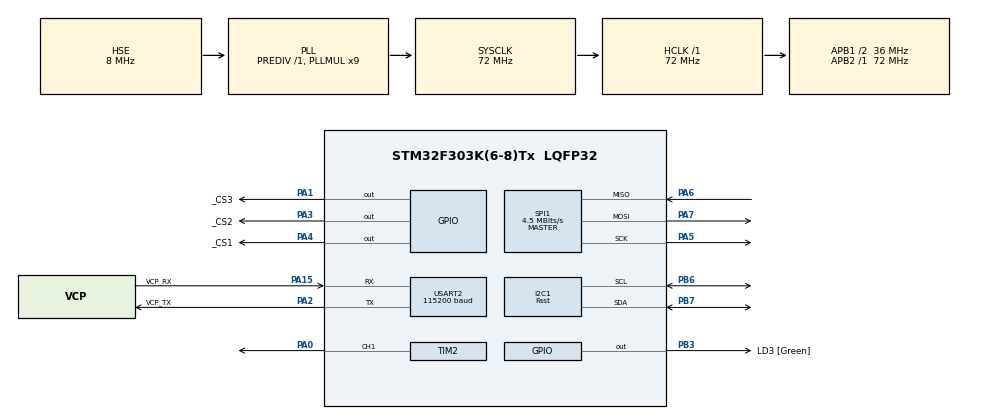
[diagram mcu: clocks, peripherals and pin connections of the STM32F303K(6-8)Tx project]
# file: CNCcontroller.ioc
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Dma.I2C1_RX.0.Direction=DMA_PERIPH_TO_MEMORY
Dma.I2C1_RX.0.Instance=DMA1_Channel3
Dma.I2C1_RX.0.MemDataAlignment=DMA_MDATAALIGN_BYTE
Dma.I2C1_RX.0.MemInc=DMA_MINC_ENABLE
Dma.I2C1_RX.0.Mode=DMA_NORMAL
Dma.I2C1_RX.0.PeriphDataAlignment=DMA_PDATAALIGN_BYTE
Dma.I2C1_RX.0.PeriphInc=DMA_PINC_DISABLE
Dma.I2C1_RX.0.Priority=DMA_PRIORITY_MEDIUM
Dma.I2C1_TX.1.Direction=DMA_MEMORY_TO_PERIPH
Dma.I2C1_TX.1.Instance=DMA1_Channel2
Dma.I2C1_TX.1.MemDataAlignment=DMA_MDATAALIGN_BYTE
Dma.I2C1_TX.1.MemInc=DMA_MINC_ENABLE
Dma.I2C1_TX.1.Mode=DMA_NORMAL
Dma.I2C1_TX.1.PeriphDataAlignment=DMA_PDATAALIGN_BYTE
Dma.I2C1_TX.1.PeriphInc=DMA_PINC_DISABLE
Dma.I2C1_TX.1.Priority=DMA_PRIORITY_MEDIUM
Dma.Request0=I2C1_RX
Dma.Request1=I2C1_TX
Dma.Request2=SPI1_RX
Dma.Request3=SPI1_TX
Dma.Request4=USART2_RX
Dma.Request5=USART2_TX
Dma.SPI1_RX.2.Direction=DMA_PERIPH_TO_MEMORY
Dma.SPI1_RX.2.Instance=DMA1_Channel4
Dma.SPI1_RX.2.MemDataAlignment=DMA_MDATAALIGN_BYTE
Dma.SPI1_RX.2.MemInc=DMA_MINC_ENABLE
Dma.SPI1_RX.2.Mode=DMA_NORMAL
Dma.SPI1_RX.2.PeriphDataAlignment=DMA_PDATAALIGN_BYTE
Dma.SPI1_RX.2.PeriphInc=DMA_PINC_DISABLE
Dma.SPI1_RX.2.Priority=DMA_PRIORITY_HIGH
Dma.SPI1_TX.3.Direction=DMA_MEMORY_TO_PERIPH
Dma.SPI1_TX.3.Instance=DMA1_Channel5
Dma.SPI1_TX.3.MemDataAlignment=DMA_MDATAALIGN_BYTE
Dma.SPI1_TX.3.MemInc=DMA_MINC_ENABLE
Dma.SPI1_TX.3.Mode=DMA_NORMAL
Dma.SPI1_TX.3.PeriphDataAlignment=DMA_PDATAALIGN_BYTE
Dma.SPI1_TX.3.PeriphInc=DMA_PINC_DISABLE
Dma.SPI1_TX.3.Priority=DMA_PRIORITY_HIGH
Dma.USART2_RX.4.Direction=DMA_PERIPH_TO_MEMORY
Dma.USART2_RX.4.Instance=DMA1_Channel6
Dma.USART2_RX.4.MemDataAlignment=DMA_MDATAALIGN_BYTE
Dma.USART2_RX.4.MemInc=DMA_MINC_ENABLE
Dma.USART2_RX.4.Mode=DMA_NORMAL
Dma.USART2_RX.4.PeriphDataAlignment=DMA_PDATAALIGN_BYTE
Dma.USART2_RX.4.PeriphInc=DMA_PINC_DISABLE
Dma.USART2_RX.4.Priority=DMA_PRIORITY_MEDIUM
Dma.USART2_TX.5.Direction=DMA_MEMORY_TO_PERIPH
Dma.USART2_TX.5.Instance=DMA1_Channel7
Dma.USART2_TX.5.MemDataAlignment=DMA_MDATAALIGN_BYTE
Dma.USART2_TX.5.MemInc=DMA_MINC_ENABLE
Dma.USART2_TX.5.Mode=DMA_NORMAL
Dma.USART2_TX.5.PeriphDataAlignment=DMA_PDATAALIGN_BYTE
Dma.USART2_TX.5.PeriphInc=DMA_PINC_DISABLE
Dma.USART2_TX.5.Priority=DMA_PRIORITY_MEDIUM
I2C1.Analog_Filter=I2C_ANALOGFILTER_ENABLE
I2C1.I2C_Speed_Mode=I2C_Fast
I2C1.NoStretchMode=I2C_NOSTRETCH_ENABLE
I2C1.Timing=0x0000020B
Mcu.Family=STM32F3
Mcu.Name=STM32F303K(6-8)Tx
Mcu.Package=LQFP32
NVIC.DMA1_Channel2_IRQn=true\:0\:0\:false\:false\:true\:false
NVIC.DMA1_Channel3_IRQn=true\:0\:0\:false\:false\:true\:false
NVIC.DMA1_Channel4_IRQn=true\:0\:0\:false\:false\:true\:false
NVIC.DMA1_Channel5_IRQn=true\:0\:0\:false\:false\:true\:false
NVIC.DMA1_Channel6_IRQn=true\:0\:0\:false\:false\:true\:false
NVIC.DMA1_Channel7_IRQn=true\:0\:0\:false\:false\:true\:false
NVIC.I2C1_ER_IRQn=true\:0\:0\:false\:false\:true\:true
NVIC.I2C1_EV_IRQn=true\:0\:0\:false\:false\:true\:true
NVIC.PriorityGroup=NVIC_PRIORITYGROUP_4
NVIC.SPI1_IRQn=true\:0\:0\:false\:false\:true\:true
NVIC.TIM1_UP_TIM16_IRQn=true\:0\:0\:false\:false\:true\:true
NVIC.TIM2_IRQn=true\:0\:0\:false\:false\:true\:true
NVIC.USART2_IRQn=true\:0\:0\:false\:false\:true\:true
PA0.Signal=S_TIM2_CH1_ETR
PA1.GPIO_Label=_CS3
PA1.GPIO_ModeDefaultOutputPP=GPIO_MODE_OUTPUT_PP
PA1.GPIO_PuPd=GPIO_PULLUP
PA1.GPIO_Speed=GPIO_SPEED_FREQ_HIGH
PA1.PinState=GPIO_PIN_SET
PA1.Signal=GPIO_Output
PA13.GPIO_Label=SWDIO
PA13.Mode=Serial_Wire
PA13.Signal=SYS_JTMS-SWDIO
PA14.GPIO_Label=SWCLK
PA14.Mode=Serial_Wire
PA14.Signal=SYS_JTCK-SWCLK
PA15.GPIO_Label=VCP_RX
PA15.Mode=Asynchronous
PA15.Signal=USART2_RX
PA2.GPIO_Label=VCP_TX
PA2.Mode=Asynchronous
PA2.Signal=USART2_TX
PA3.GPIO_Label=_CS2
PA3.GPIO_PuPd=GPIO_PULLUP
PA3.GPIO_Speed=GPIO_SPEED_FREQ_HIGH
PA3.PinState=GPIO_PIN_SET
PA3.Signal=GPIO_Output
PA4.GPIO_Label=_CS1
PA4.GPIO_PuPd=GPIO_PULLUP
PA4.GPIO_Speed=GPIO_SPEED_FREQ_HIGH
PA4.PinState=GPIO_PIN_SET
PA4.Signal=GPIO_Output
PA5.Mode=Full_Duplex_Master
PA5.Signal=SPI1_SCK
PA6.Mode=Full_Duplex_Master
PA6.Signal=SPI1_MISO
PA7.Mode=Full_Duplex_Master
PA7.Signal=SPI1_MOSI
PB3.GPIO_Label=LD3 [Green]
PB3.GPIO_Speed=GPIO_SPEED_FREQ_HIGH
PB3.Signal=GPIO_Output
PB6.Mode=I2C
PB6.Signal=I2C1_SCL
PB7.Mode=I2C
PB7.Signal=I2C1_SDA
PF0\ /\ OSC_IN.GPIO_Label=MCO
PF0\ /\ OSC_IN.Mode=HSE-External-Clock-Source
PF0\ /\ OSC_IN.Signal=RCC_OSC_IN
ProjectManager.HeapSize=0x200
ProjectManager.StackSize=0x400
ProjectManager.TargetToolchain=Makefile
RCC.AHBFreq_Value=72000000
RCC.APB1CLKDivider=RCC_HCLK_DIV2
RCC.APB1Freq_Value=36000000
RCC.APB1TimFreq_Value=72000000
RCC.APB2Freq_Value=72000000
RCC.APB2TimFreq_Value=72000000
RCC.CortexFreq_Value=72000000
RCC.HCLKFreq_Value=72000000
RCC.HSE_VALUE=8000000
RCC.HSI_VALUE=8000000
RCC.PLLMUL=RCC_PLL_MUL9
RCC.PLLSourceVirtual=RCC_PLLSOURCE_HSE
RCC.SYSCLKFreq_VALUE=72000000
RCC.SYSCLKSourceVirtual=RCC_SYSCLKSOURCE_PLLCLK
SH.S_TIM2_CH1_ETR.0=TIM2_CH1,PWM Generation1 CH1
SPI1.BaudRatePrescaler=SPI_BAUDRATEPRESCALER_16
SPI1.CalculateBaudRate=4.5 MBits/s
SPI1.DataSize=SPI_DATASIZE_8BIT
SPI1.Direction=SPI_DIRECTION_2LINES
SPI1.Mode=SPI_MODE_MASTER
SPI1.VirtualType=VM_MASTER
TIM1.AutoReloadPreload=TIM_AUTORELOAD_PRELOAD_ENABLE
TIM1.ClockDivision=TIM_CLOCKDIVISION_DIV4
TIM1.Period=1000
TIM1.Prescaler=18
TIM2.AutoReloadPreload=TIM_AUTORELOAD_PRELOAD_ENABLE
TIM2.Channel-PWM\ Generation1\ CH1=TIM_CHANNEL_1
TIM2.ClockDivision=TIM_CLOCKDIVISION_DIV4
TIM2.Period=900
USART2.BaudRate=115200
USART2.VirtualMode-Asynchronous=VM_ASYNC
VP_TIM1_VS_ClockSourceINT.Mode=Internal
VP_TIM2_VS_ClockSourceINT.Mode=Internal
board=NUCLEO-F303K8

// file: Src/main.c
/* USER CODE BEGIN Header */
/**
  ******************************************************************************
  * @file           : main.c
  * @brief          : Main program body
  ******************************************************************************
  ** This notice applies to any and all portions of this file
  * that are not between comment pairs USER CODE BEGIN and
  * USER CODE END. Other portions of this file, whether
  * inserted by the user or by software development tools
  * are owned by their respective copyright owners.
  *
  * COPYRIGHT(c) 2018 STMicroelectronics
  *
  * Redistribution and use in source and binary forms, with or without modification,
  * are permitted provided that the following conditions are met:
  *   1. Redistributions of source code must retain the above copyright notice,
  *      this list of conditions and the following disclaimer.
  *   2. Redistributions in binary form must reproduce the above copyright notice,
  *      this list of conditions and the following disclaimer in the documentation
  *      and/or other materials provided with the distribution.
  *   3. Neither the name of STMicroelectronics nor the names of its contributors
  *      may be used to endorse or promote products derived from this software
  *      without specific prior written permission.
  *
  * THIS SOFTWARE IS PROVIDED BY THE COPYRIGHT HOLDERS AND CONTRIBUTORS "AS IS"
  * AND ANY EXPRESS OR IMPLIED WARRANTIES, INCLUDING, BUT NOT LIMITED TO, THE
  * IMPLIED WARRANTIES OF MERCHANTABILITY AND FITNESS FOR A PARTICULAR PURPOSE ARE
  * DISCLAIMED. IN NO EVENT SHALL THE COPYRIGHT HOLDER OR CONTRIBUTORS BE LIABLE
  * FOR ANY DIRECT, INDIRECT, INCIDENTAL, SPECIAL, EXEMPLARY, OR CONSEQUENTIAL
  * DAMAGES (INCLUDING, BUT NOT LIMITED TO, PROCUREMENT OF SUBSTITUTE GOODS OR
  * SERVICES; LOSS OF USE, DATA, OR PROFITS; OR BUSINESS INTERRUPTION) HOWEVER
  * CAUSED AND ON ANY THEORY OF LIABILITY, WHETHER IN CONTRACT, STRICT LIABILITY,
  * OR TORT (INCLUDING NEGLIGENCE OR OTHERWISE) ARISING IN ANY WAY OUT OF THE USE
  * OF THIS SOFTWARE, EVEN IF ADVISED OF THE POSSIBILITY OF SUCH DAMAGE.
  *
  ******************************************************************************
  */
/* USER CODE END Header */

#include "main.h"

I2C_HandleTypeDef hi2c1;
DMA_HandleTypeDef hdma_i2c1_rx;
DMA_HandleTypeDef hdma_i2c1_tx;

SPI_HandleTypeDef hspi1;
DMA_HandleTypeDef hdma_spi1_rx;
DMA_HandleTypeDef hdma_spi1_tx;

TIM_HandleTypeDef htim1;
TIM_HandleTypeDef htim2;

UART_HandleTypeDef huart2;
DMA_HandleTypeDef hdma_usart2_rx;
DMA_HandleTypeDef hdma_usart2_tx;

void SystemClock_Config(void);
static void MX_GPIO_Init(void);
static void MX_DMA_Init(void);
static void MX_USART2_UART_Init(void);
static void MX_SPI1_Init(void);
static void MX_I2C1_Init(void);
static void MX_TIM2_Init(void);
static void MX_TIM1_Init(void);

int main(void)
{

  /* MCU Configuration--------------------------------------------------------*/

  /* Reset of all peripherals, Initializes the Flash interface and the Systick. */
  HAL_Init();

  /* Configure the system clock */
  SystemClock_Config();

  /* Initialize all configured peripherals */
  MX_GPIO_Init();
  MX_DMA_Init();
  MX_USART2_UART_Init();
  MX_SPI1_Init();
  MX_I2C1_Init();
  MX_TIM2_Init();
  MX_TIM1_Init();
  /* USER CODE BEGIN 2 */

  L6470_selectBoard(_CS1);
  L6470_setOscMode(INT_16MHZ_OSCOUT_16MHZ); // for  we want 16MHz
                                    //  external osc, 16MHz out. boardB
                                    //  will be the same in all respects
                                    //  but this, as it will generate the
                                    //  clock.
  L6470_configStepMode(STEP_FS_128);   // 128 microsteps per step
  L6470_setMaxSpeed(10000);        // 10000 steps/s max
  L6470_setFullSpeed(10000);       // microstep below 10000 steps/s
  L6470_setAcc(10000);             // accelerate at 10000 steps/s/s
  L6470_setDec(10000);
  L6470_setSlewRate(SR_530V_us);   // Upping the edge speed increases torque.
  L6470_setOCThreshold(OC_6000mA);  // OC threshold 6000mA
  L6470_setPWMFreq(PWM_DIV_2, PWM_MUL_2); // 31.25kHz PWM freq
  L6470_setOCShutdown(OC_SD_DISABLE); // don't shutdown on OC
  L6470_setVoltageComp(VS_COMP_DISABLE); // don't compensate for motor V
  L6470_setSwitchMode(SW_USER);    // Switch is not hard stop

  L6470_setAccKVAL(192);           // We'll tinker with these later, if needed.
  L6470_setDecKVAL(192);
  L6470_setRunKVAL(192);
  L6470_setHoldKVAL(32);           // This controls the holding current; keep it low.

  /* USER CODE END 2 */

  /* Infinite loop */
  while (1)
  {

    /* USER CODE BEGIN 3 */
    L6470_run(REV,1000);
    HAL_Delay(5000);
    L6470_run(REV,0);
    HAL_Delay(1000);

    L6470_run(FWD,1000);
    HAL_Delay(5000);
    L6470_run(FWD,0);
    HAL_Delay(1000);

    // HAL_GPIO_WritePin(LD3_GPIO_Port, LD3_Pin, GPIO_PIN_SET);
    // HAL_Delay(500);
    // HAL_GPIO_WritePin(LD3_GPIO_Port, LD3_Pin, GPIO_PIN_RESET);
    // HAL_Delay(500);
  }
  /* USER CODE END 3 */
}

void SystemClock_Config(void)
{
  RCC_OscInitTypeDef RCC_OscInitStruct = {0};
  RCC_ClkInitTypeDef RCC_ClkInitStruct = {0};
  RCC_PeriphCLKInitTypeDef PeriphClkInit = {0};

  /**Initializes the CPU, AHB and APB busses clocks
  */
  RCC_OscInitStruct.OscillatorType = RCC_OSCILLATORTYPE_HSI|RCC_OSCILLATORTYPE_HSE;
  RCC_OscInitStruct.HSEState = RCC_HSE_BYPASS;
  RCC_OscInitStruct.HSEPredivValue = RCC_HSE_PREDIV_DIV1;
  RCC_OscInitStruct.HSIState = RCC_HSI_ON;
  RCC_OscInitStruct.HSICalibrationValue = RCC_HSICALIBRATION_DEFAULT;
  RCC_OscInitStruct.PLL.PLLState = RCC_PLL_ON;
  RCC_OscInitStruct.PLL.PLLSource = RCC_PLLSOURCE_HSE;
  RCC_OscInitStruct.PLL.PLLMUL = RCC_PLL_MUL9;
  if (HAL_RCC_OscConfig(&RCC_OscInitStruct) != HAL_OK)
  {
    Error_Handler();
  }
  /**Initializes the CPU, AHB and APB busses clocks
  */
  RCC_ClkInitStruct.ClockType = RCC_CLOCKTYPE_HCLK|RCC_CLOCKTYPE_SYSCLK
                              |RCC_CLOCKTYPE_PCLK1|RCC_CLOCKTYPE_PCLK2;
  RCC_ClkInitStruct.SYSCLKSource = RCC_SYSCLKSOURCE_PLLCLK;
  RCC_ClkInitStruct.AHBCLKDivider = RCC_SYSCLK_DIV1;
  RCC_ClkInitStruct.APB1CLKDivider = RCC_HCLK_DIV2;
  RCC_ClkInitStruct.APB2CLKDivider = RCC_HCLK_DIV1;

  if (HAL_RCC_ClockConfig(&RCC_ClkInitStruct, FLASH_LATENCY_2) != HAL_OK)
  {
    Error_Handler();
  }
  PeriphClkInit.PeriphClockSelection = RCC_PERIPHCLK_I2C1|RCC_PERIPHCLK_TIM1;
  PeriphClkInit.I2c1ClockSelection = RCC_I2C1CLKSOURCE_HSI;
  PeriphClkInit.Tim1ClockSelection = RCC_TIM1CLK_HCLK;
  if (HAL_RCCEx_PeriphCLKConfig(&PeriphClkInit) != HAL_OK)
  {
    Error_Handler();
  }
}

static void MX_I2C1_Init(void)
{

  hi2c1.Instance = I2C1;
  hi2c1.Init.Timing = 0x0000020B;
  hi2c1.Init.OwnAddress1 = 0;
  hi2c1.Init.AddressingMode = I2C_ADDRESSINGMODE_7BIT;
  hi2c1.Init.DualAddressMode = I2C_DUALADDRESS_DISABLE;
  hi2c1.Init.OwnAddress2 = 0;
  hi2c1.Init.OwnAddress2Masks = I2C_OA2_NOMASK;
  hi2c1.Init.GeneralCallMode = I2C_GENERALCALL_DISABLE;
  hi2c1.Init.NoStretchMode = I2C_NOSTRETCH_ENABLE;
  if (HAL_I2C_Init(&hi2c1) != HAL_OK)
  {
    Error_Handler();
  }
  /**Configure Analogue filter
  */
  if (HAL_I2CEx_ConfigAnalogFilter(&hi2c1, I2C_ANALOGFILTER_ENABLE) != HAL_OK)
  {
    Error_Handler();
  }
  /**Configure Digital filter
  */
  if (HAL_I2CEx_ConfigDigitalFilter(&hi2c1, 0) != HAL_OK)
  {
    Error_Handler();
  }

}

static void MX_SPI1_Init(void)
{

  /* SPI1 parameter configuration*/
  hspi1.Instance = SPI1;
  hspi1.Init.Mode = SPI_MODE_MASTER;
  hspi1.Init.Direction = SPI_DIRECTION_2LINES;
  hspi1.Init.DataSize = SPI_DATASIZE_8BIT;
  hspi1.Init.CLKPolarity = SPI_POLARITY_LOW;
  hspi1.Init.CLKPhase = SPI_PHASE_1EDGE;
  hspi1.Init.NSS = SPI_NSS_SOFT;
  hspi1.Init.BaudRatePrescaler = SPI_BAUDRATEPRESCALER_16;
  hspi1.Init.FirstBit = SPI_FIRSTBIT_MSB;
  hspi1.Init.TIMode = SPI_TIMODE_DISABLE;
  hspi1.Init.CRCCalculation = SPI_CRCCALCULATION_DISABLE;
  hspi1.Init.CRCPolynomial = 7;
  hspi1.Init.CRCLength = SPI_CRC_LENGTH_DATASIZE;
  hspi1.Init.NSSPMode = SPI_NSS_PULSE_ENABLE;
  if (HAL_SPI_Init(&hspi1) != HAL_OK)
  {
    Error_Handler();
  }

}

static void MX_TIM1_Init(void)
{

  TIM_ClockConfigTypeDef sClockSourceConfig = {0};
  TIM_MasterConfigTypeDef sMasterConfig = {0};

  htim1.Instance = TIM1;
  htim1.Init.Prescaler = 18;
  htim1.Init.CounterMode = TIM_COUNTERMODE_UP;
  htim1.Init.Period = 1000;
  htim1.Init.ClockDivision = TIM_CLOCKDIVISION_DIV4;
  htim1.Init.RepetitionCounter = 0;
  htim1.Init.AutoReloadPreload = TIM_AUTORELOAD_PRELOAD_ENABLE;
  if (HAL_TIM_Base_Init(&htim1) != HAL_OK)
  {
    Error_Handler();
  }
  sClockSourceConfig.ClockSource = TIM_CLOCKSOURCE_INTERNAL;
  if (HAL_TIM_ConfigClockSource(&htim1, &sClockSourceConfig) != HAL_OK)
  {
    Error_Handler();
  }
  sMasterConfig.MasterOutputTrigger = TIM_TRGO_RESET;
  sMasterConfig.MasterOutputTrigger2 = TIM_TRGO2_RESET;
  sMasterConfig.MasterSlaveMode = TIM_MASTERSLAVEMODE_DISABLE;
  if (HAL_TIMEx_MasterConfigSynchronization(&htim1, &sMasterConfig) != HAL_OK)
  {
    Error_Handler();
  }

}

static void MX_TIM2_Init(void)
{

  TIM_ClockConfigTypeDef sClockSourceConfig = {0};
  TIM_MasterConfigTypeDef sMasterConfig = {0};
  TIM_OC_InitTypeDef sConfigOC = {0};

  htim2.Instance = TIM2;
  htim2.Init.Prescaler = 0;
  htim2.Init.CounterMode = TIM_COUNTERMODE_UP;
  htim2.Init.Period = 900;
  htim2.Init.ClockDivision = TIM_CLOCKDIVISION_DIV4;
  htim2.Init.AutoReloadPreload = TIM_AUTORELOAD_PRELOAD_ENABLE;
  if (HAL_TIM_Base_Init(&htim2) != HAL_OK)
  {
    Error_Handler();
  }
  sClockSourceConfig.ClockSource = TIM_CLOCKSOURCE_INTERNAL;
  if (HAL_TIM_ConfigClockSource(&htim2, &sClockSourceConfig) != HAL_OK)
  {
    Error_Handler();
  }
  if (HAL_TIM_PWM_Init(&htim2) != HAL_OK)
  {
    Error_Handler();
  }
  sMasterConfig.MasterOutputTrigger = TIM_TRGO_RESET;
  sMasterConfig.MasterSlaveMode = TIM_MASTERSLAVEMODE_DISABLE;
  if (HAL_TIMEx_MasterConfigSynchronization(&htim2, &sMasterConfig) != HAL_OK)
  {
    Error_Handler();
  }
  sConfigOC.OCMode = TIM_OCMODE_PWM1;
  sConfigOC.Pulse = 0;
  sConfigOC.OCPolarity = TIM_OCPOLARITY_HIGH;
  sConfigOC.OCFastMode = TIM_OCFAST_DISABLE;
  if (HAL_TIM_PWM_ConfigChannel(&htim2, &sConfigOC, TIM_CHANNEL_1) != HAL_OK)
  {
    Error_Handler();
  }
  HAL_TIM_MspPostInit(&htim2);

}

static void MX_USART2_UART_Init(void)
{

  huart2.Instance = USART2;
  huart2.Init.BaudRate = 115200;
  huart2.Init.WordLength = UART_WORDLENGTH_8B;
  huart2.Init.StopBits = UART_STOPBITS_1;
  huart2.Init.Parity = UART_PARITY_NONE;
  huart2.Init.Mode = UART_MODE_TX_RX;
  huart2.Init.HwFlowCtl = UART_HWCONTROL_NONE;
  huart2.Init.OverSampling = UART_OVERSAMPLING_16;
  huart2.Init.OneBitSampling = UART_ONE_BIT_SAMPLE_DISABLE;
  huart2.AdvancedInit.AdvFeatureInit = UART_ADVFEATURE_NO_INIT;
  if (HAL_UART_Init(&huart2) != HAL_OK)
  {
    Error_Handler();
  }

}

static void MX_DMA_Init(void)
{
  /* DMA controller clock enable */
  __HAL_RCC_DMA1_CLK_ENABLE();

  /* DMA interrupt init */
  /* DMA1_Channel2_IRQn interrupt configuration */
  HAL_NVIC_SetPriority(DMA1_Channel2_IRQn, 0, 0);
  HAL_NVIC_EnableIRQ(DMA1_Channel2_IRQn);
  /* DMA1_Channel3_IRQn interrupt configuration */
  HAL_NVIC_SetPriority(DMA1_Channel3_IRQn, 0, 0);
  HAL_NVIC_EnableIRQ(DMA1_Channel3_IRQn);
  /* DMA1_Channel4_IRQn interrupt configuration */
  HAL_NVIC_SetPriority(DMA1_Channel4_IRQn, 0, 0);
  HAL_NVIC_EnableIRQ(DMA1_Channel4_IRQn);
  /* DMA1_Channel5_IRQn interrupt configuration */
  HAL_NVIC_SetPriority(DMA1_Channel5_IRQn, 0, 0);
  HAL_NVIC_EnableIRQ(DMA1_Channel5_IRQn);
  /* DMA1_Channel6_IRQn interrupt configuration */
  HAL_NVIC_SetPriority(DMA1_Channel6_IRQn, 0, 0);
  HAL_NVIC_EnableIRQ(DMA1_Channel6_IRQn);
  /* DMA1_Channel7_IRQn interrupt configuration */
  HAL_NVIC_SetPriority(DMA1_Channel7_IRQn, 0, 0);
  HAL_NVIC_EnableIRQ(DMA1_Channel7_IRQn);

}

static void MX_GPIO_Init(void)
{
  GPIO_InitTypeDef GPIO_InitStruct = {0};

  /* GPIO Ports Clock Enable */
  __HAL_RCC_GPIOF_CLK_ENABLE();
  __HAL_RCC_GPIOA_CLK_ENABLE();
  __HAL_RCC_GPIOB_CLK_ENABLE();

  /*Configure GPIO pin Output Level */
  HAL_GPIO_WritePin(GPIOA, _CS3_Pin|_CS2_Pin|_CS1_Pin, GPIO_PIN_SET);

  /*Configure GPIO pin Output Level */
  HAL_GPIO_WritePin(LD3_GPIO_Port, LD3_Pin, GPIO_PIN_RESET);

  /*Configure GPIO pins : _CS3_Pin _CS2_Pin _CS1_Pin */
  GPIO_InitStruct.Pin = _CS3_Pin|_CS2_Pin|_CS1_Pin;
  GPIO_InitStruct.Mode = GPIO_MODE_OUTPUT_PP;
  GPIO_InitStruct.Pull = GPIO_PULLUP;
  GPIO_InitStruct.Speed = GPIO_SPEED_FREQ_HIGH;
  HAL_GPIO_Init(GPIOA, &GPIO_InitStruct);

  /*Configure GPIO pin : LD3_Pin */
  GPIO_InitStruct.Pin = LD3_Pin;
  GPIO_InitStruct.Mode = GPIO_MODE_OUTPUT_PP;
  GPIO_InitStruct.Pull = GPIO_NOPULL;
  GPIO_InitStruct.Speed = GPIO_SPEED_FREQ_HIGH;
  HAL_GPIO_Init(LD3_GPIO_Port, &GPIO_InitStruct);

}

void Error_Handler(void)
{
}

/************************ (C) COPYRIGHT STMicroelectronics *****END OF FILE****/
